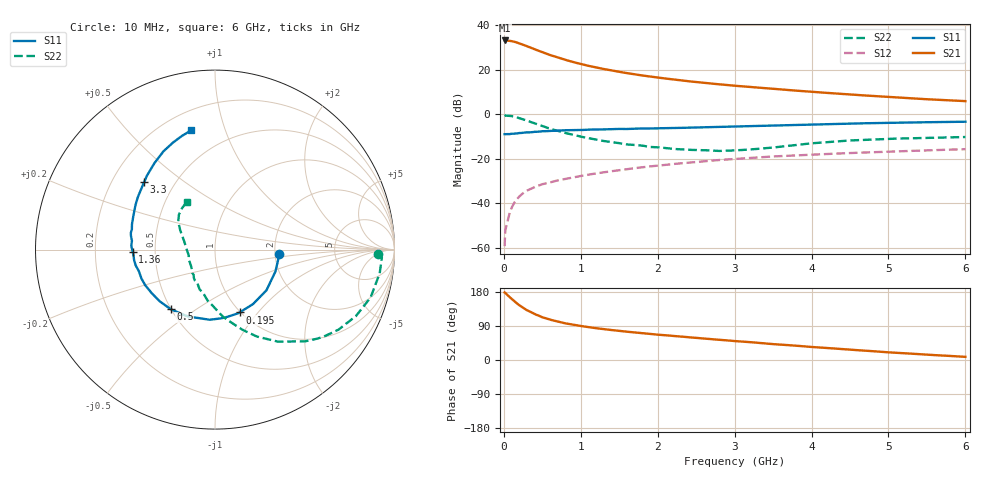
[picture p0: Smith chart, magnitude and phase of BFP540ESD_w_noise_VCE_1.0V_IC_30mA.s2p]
! Infineon Technologies  Discrete & RF Semiconductors
! BFP540ESD
! VCE =  1.0 V,  IC =  30 mA
! Common Emitter S-Parameters:  Nov 2015
# GHz  S  MA  R  50
!  f  S11  S21  S12  S22
! GHz  MAG  ANG  MAG  ANG  MAG  ANG  MAG  ANG
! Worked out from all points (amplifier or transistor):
!   210 points, 10 MHz to 6 GHz, reference 50 ohm
!   highest |S21| = 33.0 dB at 10 MHz (marker M1)
!   |S21| within 3 dB of that: start of sweep to 332 MHz
!   unconditionally stable (mu >= 1): start of sweep to 13.01 MHz; 1.748 GHz to end of sweep
!   at 185 MHz: K = 0.29, MSG = 34.7 dB, |S12| = -37.5 dB
!   at 1.52 GHz: K = 0.97, MSG = 21.9 dB, |S12| = -25.0 dB
!   at 6 GHz: K = 1.12, MAG = 8.6 dB, |S12| = -15.7 dB
!   lowest NFmin = 1.41 dB at 900 MHz
!   S11 on the Smith chart (normalised r, x): 10 MHz: 2.10, -0.12; 195 MHz: 0.99, -0.81; 500 MHz: 0.50, -0.40; 1.36 GHz: 0.37, -0.01; 3.3 GHz: 0.34, +0.36; 6 GHz: 0.31, +0.77
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0.01  0.3564 -4.1  44.89 178.2  0.0011 103.1  0.9087 -1.5
0.02  0.3565 -8.8  44.69 176.7  0.0025 94.0  0.9308 -2.6
0.05  0.3582 -19.9  44.6 170.7  0.004 81.0  0.9271 -8.2
0.1  0.3656 -38.4  43.45 161.4  0.0079 81.9  0.9069 -17.1
0.15  0.3702 -55.2  41.41 152.6  0.0113 73.5  0.8679 -25.3
0.195  0.3758 -68.6  39.09 145.5  0.0139 72.4  0.8237 -32.2
0.24  0.3815 -80.4  36.63 139.2  0.0164 68.0  0.7782 -38.3
0.3  0.392 -94.4  33.47 131.4  0.0193 65.2  0.7159 -45.6
0.4  0.4022 -112.3  28.51 121.1  0.0231 62.9  0.6205 -55.7
0.5  0.4138 -126.7  24.53 112.8  0.0269 60.5  0.5383 -64.2
0.6  0.4219 -137.0  21.19 106.5  0.0295 58.6  0.4738 -70.9
0.7  0.4281 -145.6  18.64 101.2  0.0327 58.5  0.4214 -76.8
0.8  0.4365 -153.0  16.46 96.7  0.0354 58.0  0.3784 -82.9
1.02  0.4426 -165.1  13.08 89.0  0.0418 57.7  0.3084 -93.2
1.36  0.4589 -178.6  9.833 80.0  0.0515 56.4  0.2425 -108.7
1.7  0.4739 171.1  7.814 72.6  0.0617 54.9  0.2054 -123.2
2.02  0.4836 163.1  6.542 66.6  0.0704 53.1  0.1802 -134.4
3.1  0.5329 140.3  4.204 48.6  0.1015 44.0  0.1576 179.6
3.3  0.5451 136.4  3.937 45.5  0.1071 42.0  0.1668 171.5
4.1  0.594 123.3  3.085 33.1  0.1258 34.1  0.2289 149.0
5.1  0.6437 110.4  2.377 19.1  0.1461 24.8  0.2831 134.2
6  0.6772 101.4  1.961 8.3  0.1643 17.5  0.3076 121.0
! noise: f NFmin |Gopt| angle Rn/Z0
0.9  1.41  0.38  -138  0.12
1.8  1.56  0.4  -142  0.12
2.4  1.58  0.41  -133  0.14
3  1.7  0.43  -126  0.17
4  1.76  0.52  -104  0.29
5  1.88  0.59  -87  0.46
6  2.22  0.57  -86  0.68
